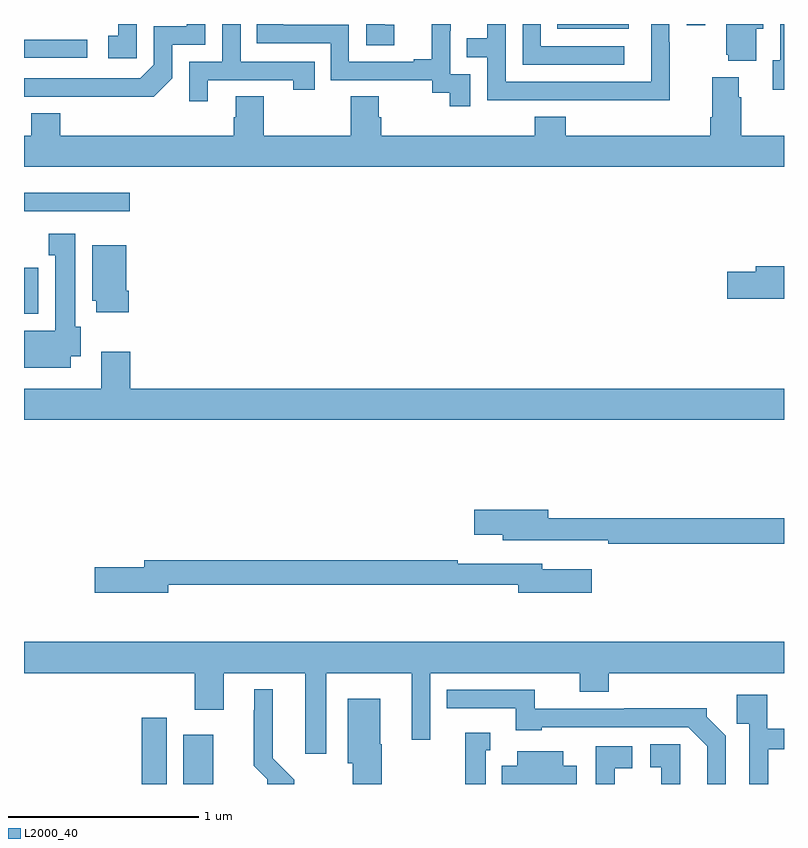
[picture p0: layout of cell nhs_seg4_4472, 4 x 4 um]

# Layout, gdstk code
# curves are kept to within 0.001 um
import gdstk
lib = gdstk.Library(unit=1e-6, precision=1e-09)
def R(c, l, rs):  # rectangles x0, y0, x1, y1
    for r in rs: c.add(gdstk.rectangle(r[:2], r[2:], *l))
def P(c, l, *ps):  # polygons
    for p in ps: c.add(gdstk.Polygon(p, *l))
L2000_40 = (2000, 40)

nhs_seg4_4472 = lib.new_cell('nhs_seg4_4472')
R(nhs_seg4_4472, L2000_40, [(351.62,798.9,351.751,799.249), (351.839,798.9,351.997,799.159), (351,801.374,351.076,801.616), (351,801.915,351.556,802.012), (351,802.722,351.334,802.818), (353.806,802.874,354.184,802.9), (354.489,802.893,354.585,802.9)])
P(nhs_seg4_4472, L2000_40, [(354.853,802.874),(354.892,802.874),(354.892,802.9),(354.695,802.9),(354.695,802.737),(354.707,802.737),(354.707,802.706),(354.853,802.706)],
  [(355,802.9),(354.981,802.9),(354.981,802.71),(354.941,802.71),(354.941,802.554),(355,802.554)],
  [(354.16,802.782),(353.721,802.782),(353.721,802.9),(353.625,802.9),(353.625,802.686),(354.16,802.686)],
  [(353.349,802.635),(353.244,802.635),(353.244,802.865),(353.246,802.865),(353.246,802.9),(353.147,802.9),(353.147,802.714),(353.051,802.714),(353.051,802.701),(352.71,802.701),(352.71,802.896),(352.365,802.896),(352.365,802.9),(352.225,802.9),(352.225,802.8),(352.614,802.8),(352.614,802.605),(353.148,802.605),(353.148,802.537),(353.241,802.537),(353.241,802.467),(353.349,802.467)],
  [(352.948,802.897),(352.899,802.897),(352.899,802.9),(352.8,802.9),(352.8,802.788),(352.948,802.788)],
  [(351.967,802.605),(352.418,802.605),(352.418,802.554),(352.529,802.554),(352.529,802.701),(352.14,802.701),(352.14,802.9),(352.044,802.9),(352.044,802.701),(351.87,802.701),(351.87,802.494),(351.967,802.494)],
  [(351.78,802.614),(351.78,802.791),(351.954,802.791),(351.954,802.9),(351.857,802.9),(351.857,802.887),(351.684,802.887),(351.684,802.686),(351.612,802.614),(351,802.614),(351,802.518),(351.682,802.517)],
  [(351.594,802.9),(351.497,802.9),(351.497,802.839),(351.444,802.839),(351.444,802.719),(351.594,802.719)],
  [(354.399,802.805),(354.396,802.805),(354.396,802.9),(354.3,802.9),(354.3,802.596),(353.535,802.596),(353.535,802.9),(353.439,802.9),(353.439,802.826),(353.329,802.826),(353.329,802.725),(353.439,802.725),(353.439,802.5),(353.935,802.5),(353.935,802.499),(354.399,802.499)],
  [(355,802.312),(354.776,802.312),(354.776,802.514),(354.763,802.514),(354.763,802.621),(354.623,802.621),(354.623,802.408),(354.611,802.408),(354.611,802.312),(353.852,802.312),(353.852,802.411),(353.687,802.411),(353.687,802.312),(352.88,802.312),(352.88,802.41),(352.867,802.41),(352.867,802.52),(352.72,802.52),(352.72,802.312),(352.263,802.312),(352.263,802.52),(352.115,802.52),(352.115,802.41),(352.103,802.41),(352.103,802.312),(351.191,802.312),(351.191,802.429),(351.038,802.429),(351.038,802.312),(351,802.312),(351,802.148),(355,802.148)],
  [(351.247,801.152),(351.298,801.152),(351.298,801.306),(351.271,801.306),(351.271,801.796),(351.131,801.796),(351.131,801.683),(351.164,801.683),(351.164,801.286),(351,801.286),(351,801.092),(351.247,801.092)],
  [(351.551,801.496),(351.538,801.496),(351.538,801.736),(351.359,801.736),(351.359,801.444),(351.38,801.444),(351.38,801.384),(351.551,801.384)],
  [(355,801.626),(354.851,801.626),(354.851,801.596),(354.702,801.596),(354.702,801.454),(355,801.454)],
  [(355,800.98),(351.56,800.98),(351.56,801.175),(351.407,801.175),(351.407,800.98),(351,800.98),(351,800.816),(355,800.816)],
  [(355,800.3),(353.758,800.3),(353.758,800.343),(353.37,800.343),(353.37,800.213),(353.519,800.213),(353.519,800.183),(354.076,800.183),(354.076,800.164),(355,800.164)],
  [(351.76,799.95),(353.6,799.95),(353.6,799.907),(353.989,799.907),(353.989,800.029),(353.728,800.029),(353.728,800.058),(353.282,800.058),(353.282,800.078),(351.632,800.078),(351.632,800.042),(351.372,800.042),(351.372,799.907),(351.76,799.907)],
  [(352.591,799.484),(353.042,799.484),(353.042,799.134),(353.139,799.134),(353.139,799.484),(353.924,799.484),(353.924,799.385),(354.077,799.385),(354.077,799.484),(355,799.484),(355,799.648),(351,799.648),(351,799.484),(351.899,799.484),(351.899,799.29),(352.051,799.29),(352.051,799.484),(352.481,799.484),(352.481,799.059),(352.591,799.059)],
  [(352.422,798.923),(352.309,799.036),(352.309,799.399),(352.211,799.399),(352.211,799.289),(352.208,799.289),(352.208,798.997),(352.281,798.924),(352.281,798.9),(352.422,798.9)],
  [(354.693,799.154),(354.594,799.253),(354.594,799.298),(354.16,799.298),(354.16,799.296),(353.688,799.296),(353.688,799.395),(353.224,799.395),(353.224,799.299),(353.588,799.299),(353.588,799.184),(353.724,799.184),(353.724,799.2),(354.495,799.2),(354.596,799.099),(354.596,798.9),(354.693,798.9)],
  [(354.917,799.083),(355,799.083),(355,799.191),(354.912,799.191),(354.912,799.369),(354.751,799.369),(354.751,799.217),(354.816,799.217),(354.816,798.9),(354.917,798.9)],
  [(352.884,799.108),(352.876,799.108),(352.876,799.348),(352.703,799.348),(352.703,799.008),(352.73,799.008),(352.73,798.9),(352.884,798.9)],
  [(353.43,799.077),(353.455,799.077),(353.455,799.171),(353.322,799.171),(353.322,798.9),(353.43,798.9)],
  [(354.454,799.108),(354.297,799.108),(354.297,798.987),(354.355,798.987),(354.355,798.9),(354.454,798.9)],
  [(354.108,798.982),(354.202,798.982),(354.202,799.098),(354.009,799.098),(354.009,798.9),(354.108,798.9)],
  [(353.908,798.997),(353.839,798.997),(353.839,799.072),(353.597,799.072),(353.597,798.997),(353.515,798.997),(353.515,798.9),(353.908,798.9)])

lib.write_gds('nhs_seg4_4472.gds')
